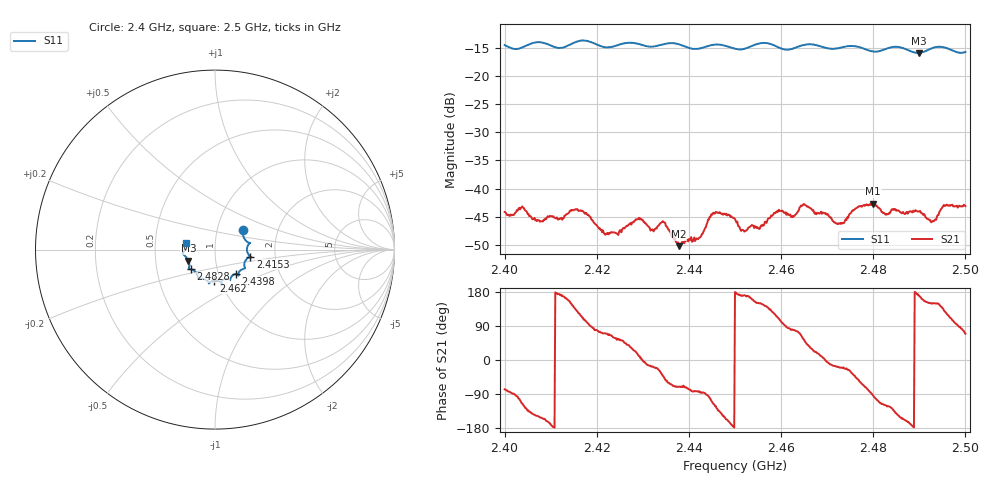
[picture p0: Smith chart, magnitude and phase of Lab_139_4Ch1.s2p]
# Hz S RI R 50
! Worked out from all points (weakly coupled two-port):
!   601 points, 2.4 GHz to 2.5 GHz, reference 50 ohm
!   highest |S21| = -42.67 dB at 2.48 GHz (marker M1); lowest = -50.2 dB at 2.4378 GHz (marker M2)
!   lowest |S11| = -15.9 dB at 2.4898 GHz (marker M3), VSWR 1.38, Z = 36.8 - j4.63 ohm
!   |S11| at or under -10 dB: start of sweep to end of sweep
!   S12 and S22 are empty: the file has one direction only
!   S11 on the Smith chart (normalised r, x): 2.4 GHz: 1.33, +0.30; 2.4153 GHz: 1.48, -0.12; 2.4398 GHz: 1.21, -0.34; 2.462 GHz: 0.93, -0.33; 2.4828 GHz: 0.74, -0.17; 2.5 GHz: 0.72, +0.06
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2.4e9  0.1554 0.1071  0.00137 -0.00605  0 0  0 0
2.407833e9  0.196 0.0375  -0.00451 -0.00242  0 0  0 0
2.415333e9  0.1963 -0.0385  -0.00453 0.00466  0 0  0 0
2.416667e9  0.2025 -0.0424  -0.00274 0.00569  0 0  0 0
2.422e9  0.168 -0.064  0.00139 0.00372  0 0  0 0
2.429e9  0.1618 -0.1059  0.00522 0.00117  0 0  0 0
2.433333e9  0.1304 -0.1337  0.00424 -0.00196  0 0  0 0
2.437833e9  0.1298 -0.1408  0.00103 -0.0029  0 0  0 0
2.439833e9  0.1157 -0.136  0.000847 -0.00329  0 0  0 0
2.445333e9  0.0844 -0.1698  -0.0027 -0.00548  0 0  0 0
2.45e9  0.0649 -0.1626  -0.00537 6.18e-05  0 0  0 0
2.451833e9  0.0454 -0.1678  -0.0042 0.000728  0 0  0 0
2.462e9  -0.0048 -0.1728  0.000907 0.00581  0 0  0 0
2.466667e9  -0.0342 -0.1883  0.00569 0.00322  0 0  0 0
2.472833e9  -0.0787 -0.1602  0.00456 -0.00169  0 0  0 0
2.48e9  -0.1095 -0.1237  -0.000525 -0.00734  0 0  0 0
2.482833e9  -0.1364 -0.1094  -0.00302 -0.00514  0 0  0 0
2.483333e9  -0.1402 -0.1093  -0.00314 -0.00503  0 0  0 0
2.489833e9  -0.1484 -0.0612  -0.00616 0.00108  0 0  0 0
2.493e9  -0.1762 -0.0267  -0.00443 0.00265  0 0  0 0
2.4955e9  -0.1787 -0.0174  -0.00433 0.00553  0 0  0 0
2.5e9  -0.159 0.039  0.00247 0.00654  0 0  0 0
